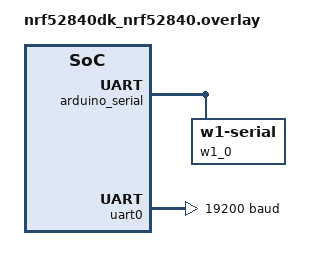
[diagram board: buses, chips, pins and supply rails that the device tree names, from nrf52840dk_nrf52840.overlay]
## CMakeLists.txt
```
cmake_minimum_required(VERSION 3.20.0)
find_package(Zephyr REQUIRED HINTS $ENV{ZEPHYR_BASE})

project(sensorScanner)

target_sources(app PRIVATE src/main.c)
```

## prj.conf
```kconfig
CONFIG_W1=y
CONFIG_W1_NET=y
CONFIG_W1_NET_FORCE_MULTIDROP_ADDRESSING=y
CONFIG_LOG=y
CONFIG_CBPRINTF_FP_SUPPORT=y
CONFIG_UART_CONSOLE=y
CONFIG_USE_SEGGER_RTT=y
```

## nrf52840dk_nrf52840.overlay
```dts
// To get started, press Ctrl+Space to bring up the completion menu and view the available nodes.

// You can also use the buttons in the sidebar to perform actions on nodes.
// Actions currently available include:

// * Enabling / disabling the node
// * Adding the bus to a bus
// * Removing the node
// * Connecting ADC channels

// For more help, browse the DeviceTree documentation at https://docs.zephyrproject.org/latest/guides/dts/index.html
// You can also visit the nRF DeviceTree extension documentation at https://docs.nordicsemi.com/bundle/nrf-connect-vscode/page/guides/ncs_configure_app.html#devicetree-support-in-the-extension


// overlay for nrf52840

#include "serial_overlay.dtsi"

&pinctrl{
    uart1_default: uart1_default {
        group1 {
            psels = <NRF_PSEL(UART_RX, 1, 1)>;
            bias-pull-up;
        };
        group2 {
            psels = <NRF_PSEL(UART_TX, 1, 2)>;
            // max 5mA drive strength
            nordic,drive-mode = <NRF_DRIVE_H0D1>;
        };
    };
};


// overlay for the 1 wire setup (most important)

&arduino_serial {
    status = "okay";

    w1_0: w1-zephyr-serial-0{
        compatible = "zephyr,w1-serial";
        #address-cells = <1>;
        #size-cells = <0>;
        status = "okay";

        ds18b20 {
            compatible = "maxim,ds18b20";
            family-code = <0x28>;
            resolution = <12>;
            status = "okay";
            
        };

    };

};

&uart0 {
    current-speed = <19200>;
};
```

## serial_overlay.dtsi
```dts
// overlay to configure temp sensor


&arduino_serial {
    status = "okay";

    w1_0: w1-zephyr-serial-0 {
        compatible = "zephyr,w1-serial";
        #address-cells = <1>;
        #size-cells = <0>;
        status = "okay";

        ds18b20 {
            compatible = "maxim,ds18b20";
            family-code = <0x28>;
            resolution = <12>;
            status = "okay";
        };
    };
};
```

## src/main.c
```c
#include <zephyr/kernel.h>
#include <zephyr/device.h>
#include <zephyr/devicetree.h>
#include <zephyr/drivers/sensor/w1_sensor.h>
#include <zephyr/drivers/gpio.h>
#include <zephyr/logging/log.h>

void w1_search_callback(struct w1_rom rom, void *user_data);
void ds18b20_request_temperatures(const struct device *w1);
int ds18b20_get_temp(const struct device *w1, uint64_t rom, float *temp);

#define DS18B20_CMD_CONVERT_TEMP 0x44
#define KNOWN_SENSORS 100

// Interval of data collection
K_TIMER_DEFINE(collection_interval, NULL, NULL);

// ID's of the temperature sensors
uint64_t known_roms[KNOWN_SENSORS] = {
        // list of all known sensors in order
        0x280305f90c0000cc, //1 
        0x28d676f90c0000c0, //2 
        0x285c05f90c0000c6, //3
        0x285a9ef90c0000b3, //4
        0x28423df90c000034, //5
        0x28f861f90c000048, //6
        0x28bd1cf90c000057, //7
        0x280842f90c00008c, //8
        0x283f7ef90c000041, //9
        0x28fd6cf90c00004f, //10
        0x28b748fa0c00009a, //11
        0x286e1af90c000056, //12
        0x28110ef90c000089, //13
        0x28839bf90c000033, //14
        0x285f86f90c00001a, //15
        0x281096f90c000037, //16
        0x28336cfa0c00004b, //17
        0x289b27fa0c00002f, //18
        0x283d81f90c0000e6, //19
        0x28d114fa0c00005f, //20
        0x28d98af90c000063, //21* 4/17/2025 
        0x288c83f90c000055, //22
        0x284d7df90c0000f9, //23
        0x28482cf90c00004a, //24
        0x28f14df90c000007, //25
        0x285930f90c00007b, //26
        0x280e38f90c0000ee, //27
        0x283333f90c000039, //28
        0x288e48fa0c0000e1, //29
        0x28858ef90c00002f, //30
        0x2894ddf90c000098, //31
        0x28e995f90c00009d, //32
        0x28a642f90c0000c3, //33
        0x28553ef90c0000a4, //34
        0x282c63f90c0000d3, //35
        0x281e93f90c0000f6, //36
        0x28f202f90c0000d8, //37
        0x28e9bff90c0000d8, //38
        0x287717fa0c0000ff, //39
        0x28316bfa0c000074, //40
        0x28e118f90c00001b, //41
        0x28699cf90c000084, //42
        0x282ccef90c00000c, //43
        0x2874adf90c0000dc, //44
        0x28efd0f90c000014, //45
        0x288ed2f90c000063, //46
        0x286af3f90c0000a3, //47
        0x28e627f90c000075, //48
        0x28971dfa0c00006b, //49
        0x281568fa0c000050, //50
        0x28466afa0c0000a4, //51
        0x28ff64f90c00001f, //52
        0x289c8ef90c0000e2, //53
        0x287361fa0c0000d2, //54
        0x28eee1f90c00006a, //55
        0x280859f90c000080, //56
        0x281826fa0c000051, //57
        0x28a338f90c0000f8, //58
        0x285d72fa0c000045, //59
        0x288873fa0c0000a7, //60
        0x28cc17f90c000088, //61
        0x28463afa0c000031, //62
        0x28bd49f90c000010, //63
        0x282c75f90c000033, //64
        0x286263fa0c00003d, //65
        0x28cbddf90c000092, //66
        0x285095f90c00000c, //67
        0x28d92af90c000050, //68
        0x2844fdf90c0000a4, //69
        0x28b7a0f90c0000f6, //70
        0x28b119fa0c000070, //71
        0x287548f90c0000e3, //72
        0x281462fa0c0000da, //73
        0x28d669f90c0000d3, //74
        0x283e39f90c0000ce, //75
        0x280ed6f90c000096, //76
        0x28f22ff90c0000cc, //77
        0x286354f90c000057, //78
        0x287197f90c00000e, //79
        0x284d9af90c000072, //80
        0x28d363fa0c00000d, //81
        0x28281cf90c00000d, //82
        0x287b60fa0c0000be, //83
        0x288e5efa0c000001, //84
        0x28343df90c00001e, //85
        0x288d96f90c0000cc, //86
        0x285696f90c0000f0, //87
        0x286b82f90c000034, //88
        0x28421af90c00009d, //89
        0x282b7df90c000088, //90
        0x286e4bf90c00000e, //91
        0x280203f90c000067, //92
        0x28fc02f90c0000cb, //93
        0x28ab25fa0c000041, //94
        0x28d624fa0c00005e, //95
        0x28de1af90c000051, //96
        0x286bfef80c0000f7, //97
        0x284245fa0c0000ef, //98
        0x28a2cff90c000038, //99
        0x28a719fa0c000099, //100
};

// Number of the temperature sensor wrt ID
uint32_t known_ids[KNOWN_SENSORS] = {
        // List of the number of known sensors 
        // in accordance to the ID's above
        1,
        2,
        3,
        4,
        5,
        6,
        7,
        8,
        9,
        10,
        11,
        12,
        13,
        14,
        15,
        16,
        17,
        18,
        19,
        20,
        21,
        22,
        23,
        24,
        25,
        26,
        27,
        28,
        29,
        30,
        31,
        32,
        33,
        34,
        35,
        36,
        37,
        38,
        39,
        40,
        41,
        42,
        43,
        44,
        45,
        46,
        47,
        48,
        49,
        50,
        51,
        52,
        53,
        54,
        55,
        56,
        57,
        58,
        59,
        60,
        61,
        62,
        63,
        64,
        65,
        66,
        67,
        68,
        69,
        70,
        71,
        72,
        73,
        74,
        75,
        76,
        77,
        78,
        79,
        80,
        81,
        82,
        83,
        84,
        85,
        86,
        87,
        88,
        89,
        90,
        91,
        92,
        93,
        94,
        95,
        96,
        97,
        98,
        99,
        100,
};

// boolean to represent whether or not the sensor is working
bool present[KNOWN_SENSORS] = {false, false};

// Array to store the temperature data
float temp_readings[KNOWN_SENSORS];

// Leave level INF if running program. Only change to DBG for debug purposes
// program will not run correctly if left on DBG
LOG_MODULE_REGISTER(W1_Read_Multi, LOG_LEVEL_INF);

static const struct device *w1 = DEVICE_DT_GET(DT_NODELABEL(w1_0));

// static const struct device *get_ds18b20_device(void){
//         const struct device *const dev = DEVICE_DT_GET_ANY(maxim_ds18b20);

//         if(dev == NULL){
//                 // no node found or does not have status 'okay'
//                 printk("\nError: no device found.\n");
//                 return NULL;
//         }

//         if(!device_is_ready(dev)){
//                 printk("\nError: Device \"%s\" is not ready; "
//                         "check the driver initialization logs for errors. \n",
//                         dev->name);
//                 return NULL;
//         }

//         printk("Found device \"%s\", getting sensor data\n", dev->name);
//         printk("test, \"%s\"", dev ->name);

//         if (dev->name == "280305f90c0000cc") {
//                 printk("Found 1\n");
//                 tempSensors[0] = &dev;
//         }
//         return dev;
// } // end get function


 int main(void){
        // stores temperature data
        float temp;

        if(!device_is_ready(w1)) {
                LOG_ERR("W1 device not ready");
                return -1;
        }

        LOG_DBG("Searching for 1-wire sensors");

        // used for identifying unknown sensor
        // important if a sensir needs to be replaced
        // causes error unused-variable, works fine.
        int num_sensors = w1_search_rom(w1, w1_search_callback, NULL);

        // Timer for data collection interval of 2 seconds
        k_timer_start(&collection_interval, K_MSEC(2000), K_MSEC(2000));

        // infinite loop for attaining temperature data
        
        while(true){
                
                if(k_timer_status_get(&collection_interval) >0){
                        ds18b20_request_temperatures(w1);
                        int sensor_num = 0;
                        // used for debugging parasitic power mode
                        float temporary = 0;
                        for(int i = 0; i < KNOWN_SENSORS; i++){
                                temp = -666; // Used to indicate no temp reading
                                if(present[i]){
                                        int result = ds18b20_get_temp(w1, known_roms[i], &temp);
                                        sensor_num++;
                                        // if there was an error attaining the temperature or talking to sensor
                                        if(result < 0){
                                                LOG_ERR("Error reading temperature from sensor %d: %d", known_ids[i], result);
                                        }
                                }
                                if(!present[i]){
                                        LOG_DBG("Error from sensor %d", i+1);
                                }
                                if(temp > 84 && (temporary <! temp-20 || temporary >! temp+20)){
                                        LOG_DBG("Parasitic power mode reading from sensor %d", i+1);
                                }
                                temporary = temp;
                                k_msleep(35);
                                printk("%.2f\t", temp);

                        }

                        //print data from the for loop in one line string for the python code to read
                        printk("\n");
                        LOG_DBG("end sequence");
                        LOG_DBG("Sensors in circuit: %d",sensor_num );
                }
                
        }

// comment block represents the code used to attain a temperature
// senor's ID, not used in general Temperature data program
// leave commented unless attempting to reattain the ID number
/*        int res;

        const struct device *dev = get_ds18b20_device();// 280305f90c0000cc// 

                if(dev == NULL){
                        return 0;
                }

                // loop for gathering the serial number of temperature sensor, NOT FOR DATA COLLECTION OF TEMP
                while(true){
                        res = sensor_sample_fetch(dev);
                        printk("test, res: %d", res);
                        k_sleep(K_MSEC(20000));
                }
                
                



        while(true){
                struct sensor_value temp;
                
                res = sensor_sample_fetch(dev);
                // printk("TEST, dev: %d ", dev->name);
                if(res != 0){
                        printk("sample_fetch() failed: %d\n", res);
                        return res;
                }

                res = sensor_channel_get(dev, SENSOR_CHAN_AMBIENT_TEMP, &temp);
                if(res != 0){
                        printk("channel_get() failed: %d\n", res);
                        return res;
                }

                printk("Temp: %d.%06d\n", temp.val1, temp.val2);
                k_sleep(K_MSEC(2000));
        }
        */
        return 0;
}

// Function to check if the temperature sensors are present
void w1_search_callback(struct w1_rom rom, void *user_data){
        uint64_t rom_as_int = w1_rom_to_uint64(&rom);
        for(int i = 0; i < KNOWN_SENSORS; i++){
                if(rom_as_int == known_roms[i]){
                        LOG_DBG("Found sensor ID %d with ROM 0x%016llx", known_ids[i], rom_as_int);
                        k_msleep(16);
                        present[i] = true;
                        return;
                }

        }
        LOG_DBG("Found new sensor with ROM: 0x%016llx", rom_as_int);
}

// function to talk to temperature sensors
void ds18b20_request_temperatures(const struct device *w1){
        int result;
        struct w1_slave_config slave_config;
        slave_config.overdrive = 0;
        result = w1_skip_rom(w1, &slave_config);
        if(result == -ENODEV) {
                LOG_ERR("No such devices found on bus");
                // device not hooked up
                return;
        }
        if(result < 0){
                LOG_ERR("Other error: %d", result);
                return;
        }

        // if no errors, allow to write to temperature sensor
        result = w1_write_byte(w1, DS18B20_CMD_CONVERT_TEMP);

        if(result < 0){
                LOG_ERR("Error writing to device: %d", result);
                return;
        }
        k_msleep(750); // required ~750 ms for writing to take place
}


// after device has been written to, function to read what was found
int ds18b20_get_temp(const struct device *w1, uint64_t rom, float *temp){
        // variable to store the data of the temperature sensor and be manipulated
        uint8_t scratchpad[9];

        // read scratchpad command, found from DS18b20 datasheet
        uint8_t cmd[1] = {0xBE};

        // declaration of variables

        uint16_t raw_temp;
        struct w1_rom rom_struct;
        w1_uint64_to_rom(rom, &rom_struct);
        int result;
        struct w1_slave_config ds18b20_config;
        ds18b20_config.overdrive = 0;
        ds18b20_config.rom = rom_struct;

        // write read to the device to attain the 16 bit data from the sensor
        result = w1_write_read(w1, &ds18b20_config, cmd, 1, scratchpad, sizeof(scratchpad));

        // error reading from write-read
        if(result < 0){
                LOG_ERR("Error reading scratchpad: %d", result);
                return result;
        }

        // compacting first 7 bits of scratchpad to test if what was received makes sense
        result = w1_crc8(scratchpad, sizeof(scratchpad) - 1);

        // if we did not get the intended crc
        // Compares the compacted first 7 bits into the bit 8 of scratchpad, 
        //should be the same if it works
        if(result != scratchpad[8]){
                LOG_ERR("CRC error: %d", result);
                return -EIO;
        }

        if(result < 0){
                return result;
        }
        
        if(result < 0){
                return result;
        }
        if(scratchpad[1] >= 8) {
                // The negative temperature stored in twos compliment
                // Scratchpad[1] represents bits 9-16
                // if scratchpad's bits sum to be greater than 7, we know it is negative
                // if this is true, we need to handle appropriately
                raw_temp = (~scratchpad[1]) << 8 | (~scratchpad[0]);
                // ~ represents bitwise not and we must flip all bits of scratchpad (0 --> 1 & 1 --> 0)
                raw_temp = -raw_temp;
                // we have now made it positive so we needed to switch it back to negative

                // The negative case has now been succesfully handled
        }
        raw_temp = (scratchpad[1] << 8) | scratchpad[0];
        // if the negative case was not necessary, we simply need to shift the bits later and or with the early bits
        // Final conversion to Celsius
        *temp = 0.0625 * raw_temp; 

        return 0;
}
```
